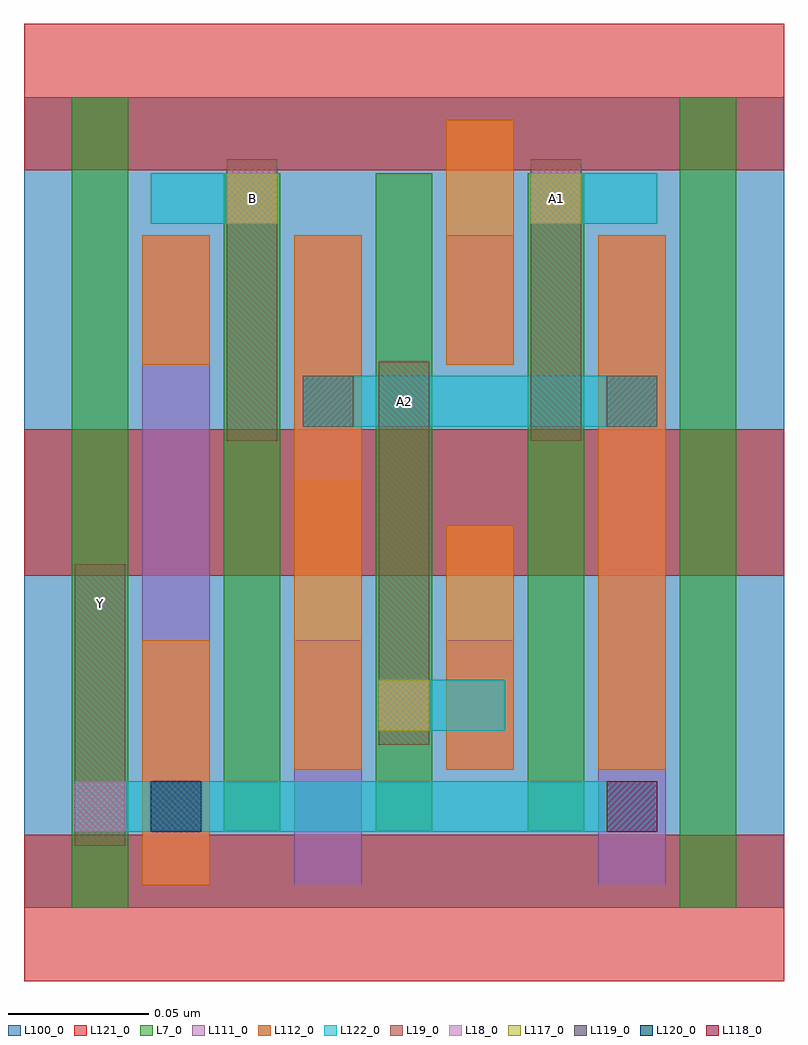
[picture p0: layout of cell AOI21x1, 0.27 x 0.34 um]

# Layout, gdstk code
import gdstk
lib = gdstk.Library(unit=1e-6, precision=2.5e-10)
def R(c, l, rs):  # rectangles x0, y0, x1, y1
    for r in rs: c.add(gdstk.rectangle(r[:2], r[2:], *l))
def A(c, l, x, y, w, h, nx, ny, dx, dy):  # array of equal rectangles
    R(c, l, [(x+i*dx, y+j*dy, x+i*dx+w, y+j*dy+h) for i in range(nx) for j in range(ny)])
L7_0 = (7, 0)
L18_0 = (18, 0)
L19_0 = (19, 0)
L100_0 = (100, 0)
L111_0 = (111, 0)
L112_0 = (112, 0)
L117_0 = (117, 0)
L118_0 = (118, 0)
L119_0 = (119, 0)
L120_0 = (120, 0)
L121_0 = (121, 0)
L122_0 = (122, 0)

aoi21x1 = lib.new_cell('AOI21x1')
A(aoi21x1, L7_0, 0.071, 0.027, 0.02, 0.117, 3, 2, 0.054, 0.117)
R(aoi21x1, L7_0, [(0.017,0,0.037,0.144), (0.233,0,0.253,0.144), (0.017,0.144,0.037,0.288), (0.233,0.144,0.253,0.288)])
R(aoi21x1, L18_0, [(0.018,0.027,0.036,0.045), (0.126,0.063,0.144,0.081), (0.072,0.243,0.09,0.261), (0.18,0.243,0.198,0.261)])
R(aoi21x1, L19_0, [(0.018,0.022,0.036,0.122), (0.126,0.058,0.144,0.194), (0.072,0.166,0.09,0.266), (0.18,0.166,0.198,0.266)])
R(aoi21x1, L100_0, [(0,0,0.27,0.288)])
R(aoi21x1, L111_0, [(0.042,0.008,0.066,0.144), (0.096,0.008,0.12,0.095), (0.204,0.008,0.228,0.144), (0.15,0.049,0.174,0.095), (0.042,0.144,0.066,0.239), (0.204,0.144,0.228,0.239), (0.096,0.152,0.12,0.239), (0.15,0.193,0.174,0.239)])
R(aoi21x1, L112_0, [(0.042,0.008,0.066,0.095), (0.096,0.049,0.12,0.144), (0.15,0.049,0.174,0.136), (0.204,0.049,0.228,0.144), (0.096,0.144,0.12,0.239), (0.204,0.144,0.228,0.239), (0.042,0.193,0.066,0.239), (0.15,0.193,0.174,0.28)])
R(aoi21x1, L117_0, [(0.126,0.063,0.144,0.081), (0.072,0.243,0.09,0.261), (0.18,0.243,0.198,0.261)])
R(aoi21x1, L118_0, [(0.207,0.027,0.225,0.045)])
R(aoi21x1, L119_0, [(0.045,0.027,0.063,0.045), (0.099,0.171,0.117,0.189), (0.207,0.171,0.225,0.189)])
R(aoi21x1, L120_0, [(0.045,0.027,0.063,0.045)])
A(aoi21x1, L121_0, 0, -0.026, 0.27, 0.052, 1, 3, 0, 0.144)
R(aoi21x1, L122_0, [(0.018,0.027,0.225,0.045), (0.126,0.063,0.171,0.081), (0.099,0.171,0.225,0.189), (0.045,0.243,0.09,0.261), (0.18,0.243,0.225,0.261)])
aoi21x1.add(gdstk.Label('Y', (0.027,0.108), layer=19, texttype=251))
aoi21x1.add(gdstk.Label('B', (0.081,0.252), layer=19, texttype=251))
aoi21x1.add(gdstk.Label('A2', (0.135,0.18), layer=19, texttype=251))
aoi21x1.add(gdstk.Label('A1', (0.189,0.252), layer=19, texttype=251))

lib.write_gds('AOI21x1.gds')
